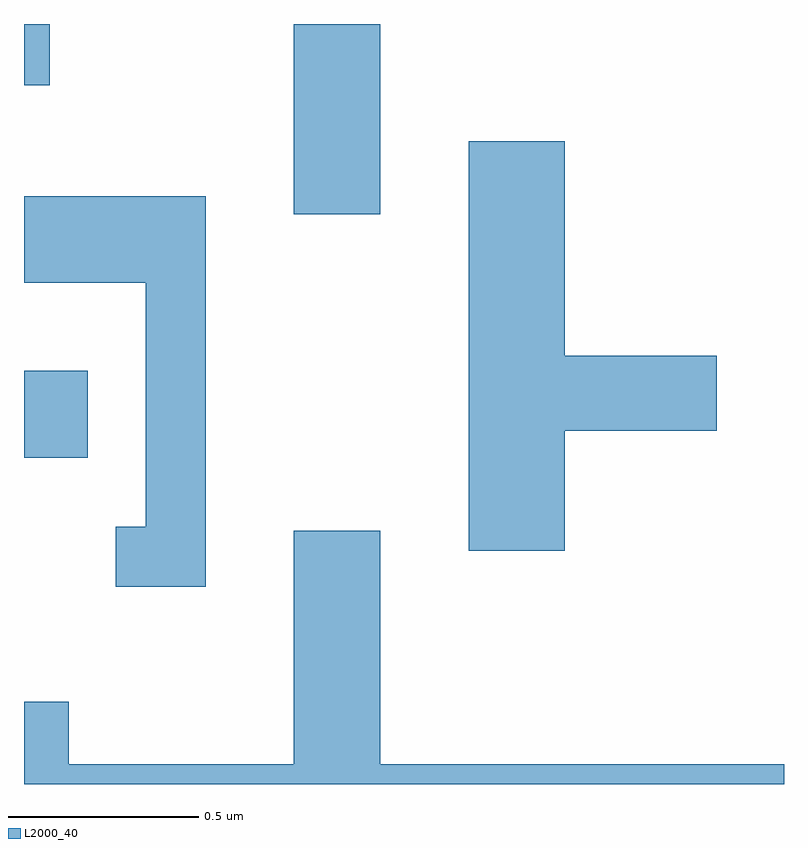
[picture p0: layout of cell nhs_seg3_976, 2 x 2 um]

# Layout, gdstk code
import gdstk
lib = gdstk.Library(unit=1e-6, precision=1e-09)
def R(c, l, rs):  # rectangles x0, y0, x1, y1
    for r in rs: c.add(gdstk.rectangle(r[:2], r[2:], *l))
def P(c, l, *ps):  # polygons
    for p in ps: c.add(gdstk.Polygon(p, *l))
L2000_40 = (2000, 40)

nhs_seg3_976 = lib.new_cell('nhs_seg3_976')
R(nhs_seg3_976, L2000_40, [(192.611,1133.751,192.779,1133.979), (193.321,1134.391,193.549,1134.892), (192.611,1134.731,192.679,1134.892)])
P(nhs_seg3_976, L2000_40, [(194.034,1133.821),(194.434,1133.821),(194.434,1134.019),(194.034,1134.019),(194.034,1134.584),(193.781,1134.584),(193.781,1133.506),(194.034,1133.506)],
  [(193.089,1134.439),(192.611,1134.439),(192.611,1134.211),(192.931,1134.211),(192.931,1133.569),(192.853,1133.569),(192.853,1133.411),(193.089,1133.411)],
  [(194.611,1132.944),(193.549,1132.944),(193.549,1133.559),(193.321,1133.559),(193.321,1132.944),(192.729,1132.944),(192.729,1133.109),(192.611,1133.109),(192.611,1132.892),(194.611,1132.892)])

lib.write_gds('nhs_seg3_976.gds')
